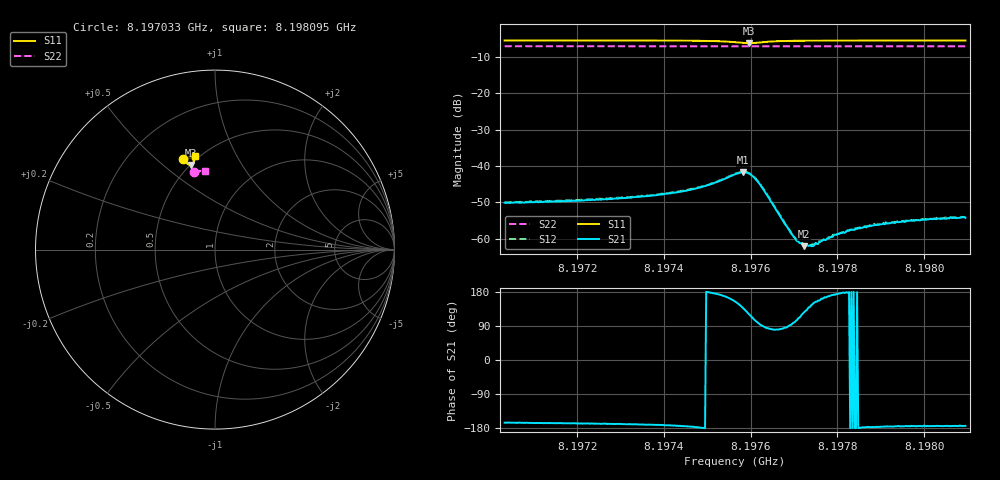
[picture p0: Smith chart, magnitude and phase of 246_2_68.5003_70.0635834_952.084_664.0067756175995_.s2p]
#  HZ  S  RI  R  50.00
! Rohde & Schwarz Vector Network Analyzer
! Rohde-Schwarz,ZNB20-2Port,1311601062101988,3.16
! Created: UTC 3/20/2024, 5:14:46 PM
! freq[Hz]  re:S11  im:S11  re:S21  im:S21  re:S12  im:S12  re:S22  im:S22
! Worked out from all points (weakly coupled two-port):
!   401 points, 8.197033 GHz to 8.198095 GHz, reference 50 ohm
!   highest |S21| = -41.72 dB at 8.197583 GHz (marker M1); lowest = -62.1 dB at 8.197723 GHz (marker M2)
!   lowest |S11| = -6.2 dB at 8.197596 GHz (marker M3), VSWR 2.92, Z = 25.2 + j31.4 ohm
!   |S11| at or under -10 dB: nowhere
!   |S22| runs from -7.1 to -7.0 dB; largest |S21 - S12| = 0.00037
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8.1970329e9  -0.1788 0.5049  -0.00303 -0.000783  -0.0031 -0.000648  -0.1165 0.4308
8.1972109e9  -0.1653 0.5091  -0.00328 -0.000738  -0.00339 -0.000634  -0.1067 0.4328
8.1973888e9  -0.1491 0.5126  -0.00399 -0.000608  -0.00406 -0.000462  -0.0969 0.4348
8.1974419e9  -0.1426 0.5128  -0.00445 -0.000452  -0.00457 -0.00027  -0.0938 0.4354
8.1974844e9  -0.1358 0.5121  -0.00507 -0.000148  -0.00517 7.93e-05  -0.0914 0.4358
8.1975269e9  -0.1264 0.5079  -0.00612 0.00074  -0.00619 0.00102  -0.0887 0.436
8.1975641e9  -0.1182 0.493  -0.00695 0.00332  -0.00693 0.00366  -0.0864 0.4359
8.1975827e9  -0.1222 0.4792  -0.00602 0.00557  -0.00593 0.00589  -0.0857 0.4358
8.197596e9  -0.1325 0.4721  -0.00411 0.00673  -0.00398 0.00702  -0.0853 0.4359
8.1976093e9  -0.1455 0.4727  -0.00185 0.00658  -0.00168 0.00683  -0.0849 0.4359
8.1976252e9  -0.1553 0.4813  -0.00014 0.00515  8.64e-05 0.00526  -0.0844 0.4362
8.1976757e9  -0.1547 0.5033  0.000191 0.00171  0.000289 0.00177  -0.0814 0.4375
8.1977022e9  -0.1506 0.5085  -0.000187 0.00102  -0.000145 0.00101  -0.0799 0.4377
8.1977129e9  -0.149 0.5098  -0.000324 0.00081  -0.000272 0.000823  -0.0794 0.4378
8.1977235e9  -0.1476 0.5109  -0.000464 0.000637  -0.00044 0.000706  -0.0788 0.4378
8.1977421e9  -0.1452 0.5125  -0.000657 0.000436  -0.000675 0.000501  -0.0777 0.4381
8.1977979e9  -0.1387 0.5158  -0.00112 0.000117  -0.00112 0.000186  -0.0745 0.4386
8.1978271e9  -0.1358 0.5168  -0.0013 1.85e-05  -0.00128 5.73e-05  -0.0727 0.4389
8.1978802e9  -0.1307 0.5186  -0.00152 -8.39e-05  -0.00154 -5.57e-06  -0.0697 0.4392
8.1979201e9  -0.1274 0.5196  -0.00163 -0.000134  -0.00166 -7.05e-05  -0.0675 0.4394
8.1979918e9  -0.1215 0.5211  -0.00178 -0.000176  -0.00184 -9.44e-05  -0.0633 0.4399
8.1980954e9  -0.1133 0.5228  -0.00192 -0.000207  -0.00196 -0.000123  -0.0575 0.4406
